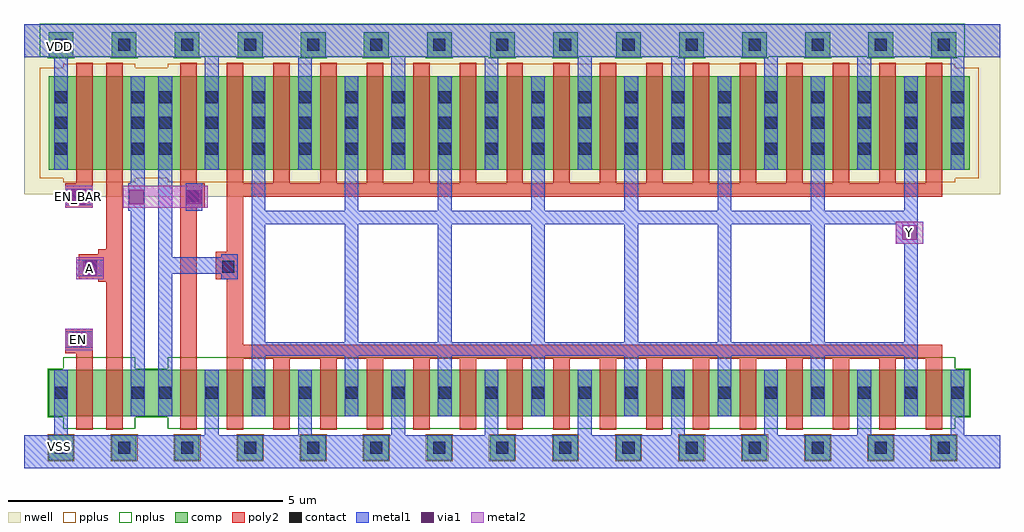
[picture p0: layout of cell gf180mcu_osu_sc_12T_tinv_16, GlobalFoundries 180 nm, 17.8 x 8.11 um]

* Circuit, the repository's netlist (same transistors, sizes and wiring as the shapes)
* Copyright 2022 Google LLC
*
* Licensed under the Apache License, Version 2.0 (the "License");
* you may not use this file except in compliance with the License.
* You may obtain a copy of the License at
*
*      http://www.apache.org/licenses/LICENSE-2.0
*
* Unless required by applicable law or agreed to in writing, software
* distributed under the License is distributed on an "AS IS" BASIS,
* WITHOUT WARRANTIES OR CONDITIONS OF ANY KIND, either express or implied.
* See the License for the specific language governing permissions and
* limitations under the License.

.option scale=0.05u

.subckt gf180mcu_osu_sc_12T_tinv_16 A Y EN EN_BAR
X0 Y a_36_19 VSS VSS nmos_3p3 w=17 l=6
X1 a_36_19 A a_25_19 VSS nmos_3p3 w=17 l=6
X2 VSS a_36_19 Y VSS nmos_3p3 w=17 l=6
X3 a_36_19 A a_25_109 VDD pmos_3p3 w=34 l=6
X4 VSS a_36_19 a_36_19 VSS nmos_3p3 w=17 l=6
X5 VSS a_36_19 Y VSS nmos_3p3 w=17 l=6
X6 VSS a_36_19 Y VSS nmos_3p3 w=17 l=6
X7 a_25_109 EN_BAR VDD VDD pmos_3p3 w=34 l=6
X8 Y a_36_19 VSS VSS nmos_3p3 w=17 l=6
X9 a_25_19 EN VSS VSS nmos_3p3 w=17 l=6
X10 VSS a_36_19 Y VSS nmos_3p3 w=17 l=6
X11 VDD a_36_19 Y VDD pmos_3p3 w=34 l=6
X12 VSS a_36_19 Y VSS nmos_3p3 w=17 l=6
X13 Y a_36_19 VDD VDD pmos_3p3 w=34 l=6
X14 VDD a_36_19 Y VDD pmos_3p3 w=34 l=6
X15 VSS a_36_19 Y VSS nmos_3p3 w=17 l=6
X16 Y a_36_19 VSS VSS nmos_3p3 w=17 l=6
X17 Y a_36_19 VDD VDD pmos_3p3 w=34 l=6
X18 VDD a_36_19 Y VDD pmos_3p3 w=34 l=6
X19 VDD a_36_19 Y VDD pmos_3p3 w=34 l=6
X20 Y a_36_19 VDD VDD pmos_3p3 w=34 l=6
X21 VDD a_36_19 Y VDD pmos_3p3 w=34 l=6
X22 Y a_36_19 VSS VSS nmos_3p3 w=17 l=6
X23 Y a_36_19 VSS VSS nmos_3p3 w=17 l=6
X24 Y a_36_19 VDD VDD pmos_3p3 w=34 l=6
X25 Y a_36_19 VDD VDD pmos_3p3 w=34 l=6
X26 Y a_36_19 VDD VDD pmos_3p3 w=34 l=6
X27 VDD a_36_19 Y VDD pmos_3p3 w=34 l=6
X28 Y a_36_19 VSS VSS nmos_3p3 w=17 l=6
X29 Y a_36_19 VSS VSS nmos_3p3 w=17 l=6
X30 Y a_36_19 VDD VDD pmos_3p3 w=34 l=6
X31 VDD a_36_19 Y VDD pmos_3p3 w=34 l=6
X32 VSS a_36_19 Y VSS nmos_3p3 w=17 l=6
X33 VDD a_36_19 Y VDD pmos_3p3 w=34 l=6
X34 Y a_36_19 VDD VDD pmos_3p3 w=34 l=6
X35 VSS a_36_19 Y VSS nmos_3p3 w=17 l=6
X36 VDD a_36_19 a_36_19 VDD pmos_3p3 w=34 l=6
X37 Y a_36_19 VSS VSS nmos_3p3 w=17 l=6
.ends

** hspice subcircuit dictionary

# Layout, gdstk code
import gdstk
lib = gdstk.Library(unit=1e-6, precision=1e-09)
def R(c, l, rs):  # rectangles x0, y0, x1, y1
    for r in rs: c.add(gdstk.rectangle(r[:2], r[2:], *l))
def A(c, l, x, y, w, h, nx, ny, dx, dy):  # array of equal rectangles
    R(c, l, [(x+i*dx, y+j*dy, x+i*dx+w, y+j*dy+h) for i in range(nx) for j in range(ny)])
nwell = (21, 0)
comp = (22, 0)
poly2 = (30, 0)
pplus = (31, 0)
nplus = (32, 0)
contact = (33, 0)
metal1 = (34, 0)
via1 = (35, 0)
metal2 = (36, 0)

gf180mcu_osu_sc_12t_tinv = lib.new_cell('gf180mcu_osu_sc_12T_tinv_16')
R(gf180mcu_osu_sc_12t_tinv, nwell, [(0.85,4.95,4.2,5), (0,5,17.8,8.1)])
A(gf180mcu_osu_sc_12t_tinv, comp, 0.45, 0.15, 0.45, 0.45, 15, 2, 1.15, 7.35)
R(gf180mcu_osu_sc_12t_tinv, comp, [(0.45,0.95,17.25,1.8), (0.45,5.45,17.25,7.15)])
A(gf180mcu_osu_sc_12t_tinv, poly2, 3.7, 0.7, 0.3, 1.3, 16, 1, 0.85, 0)
A(gf180mcu_osu_sc_12t_tinv, poly2, 2.85, 5.2, 0.3, 2.2, 17, 1, 0.85, 0)
R(gf180mcu_osu_sc_12t_tinv, poly2, [(0.95,0.7,1.25,2.1), (1.5,0.7,1.8,3.4), (2.85,0.7,3.15,4.75), (3.7,2,16.75,2.25), (0.75,2.1,1.25,2.55), (3.7,2.25,4,3.45), (1.35,3.4,1.8,3.45), (1,3.45,1.8,3.9), (3.5,3.45,4,3.95), (1.35,3.9,1.8,4), (3.7,3.95,4,4.95), (1.5,4,1.8,7.4), (0.75,4.75,1.25,5.2), (2.85,4.75,3.3,5.2), (3.7,4.95,16.75,5.2), (0.95,5.2,1.25,7.4)])
A(gf180mcu_osu_sc_12t_tinv, pplus, 0.43, 0.13, 0.49, 0.49, 15, 1, 1.15, 0)
R(gf180mcu_osu_sc_12t_tinv, pplus, [(0.72,5.22,2.03,5.29), (2.62,5.22,16.98,5.29), (0.29,5.29,17.41,7.31), (0.72,7.31,2.03,7.38), (2.62,7.31,16.98,7.38)])
A(gf180mcu_osu_sc_12t_tinv, nplus, 0.43, 7.48, 0.49, 0.03, 15, 1, 1.15, 0)
R(gf180mcu_osu_sc_12t_tinv, nplus, [(0.72,0.72,2.03,0.93), (2.62,0.72,16.98,0.93), (0.43,0.93,17.27,1.82), (0.72,1.82,2.03,2.03), (2.62,1.82,16.98,2.03), (0.29,7.51,17.16,8.11)])
A(gf180mcu_osu_sc_12t_tinv, contact, 0.565, 0.265, 0.22, 0.22, 15, 2, 1.15, 7.35)
A(gf180mcu_osu_sc_12t_tinv, contact, 2.465, 1.265, 0.22, 0.22, 18, 2, 0.85, 4.455)
A(gf180mcu_osu_sc_12t_tinv, contact, 0.565, 5.72, 0.22, 0.22, 1, 3, 0, 0.47)
A(gf180mcu_osu_sc_12t_tinv, contact, 1.965, 5.72, 0.22, 0.22, 1, 3, 0, 0.47)
A(gf180mcu_osu_sc_12t_tinv, contact, 2.465, 6.19, 0.22, 0.22, 18, 2, 0.85, 0.47)
R(gf180mcu_osu_sc_12t_tinv, contact, [(0.565,1.265,0.785,1.485), (1.965,1.265,2.185,1.485), (0.865,2.215,1.085,2.435), (1.115,3.565,1.335,3.785), (3.615,3.565,3.835,3.785), (0.865,4.865,1.085,5.085), (2.965,4.865,3.185,5.085)])
A(gf180mcu_osu_sc_12t_tinv, metal1, 3.3, 0.6, 0.25, 1.2, 9, 1, 1.7, 0)
A(gf180mcu_osu_sc_12t_tinv, metal1, 4.15, 0.95, 0.25, 1.1, 8, 1, 1.7, 0)
A(gf180mcu_osu_sc_12t_tinv, metal1, 4.15, 2.3, 0.25, 2.15, 7, 1, 1.7, 0)
A(gf180mcu_osu_sc_12t_tinv, metal1, 4.15, 4.7, 0.25, 2.45, 8, 1, 1.7, 0)
A(gf180mcu_osu_sc_12t_tinv, metal1, 3.3, 5.45, 0.25, 2.05, 9, 1, 1.7, 0)
R(gf180mcu_osu_sc_12t_tinv, metal1, [(0,0,17.8,0.6), (0.55,0.6,0.8,1.8), (1.95,0.95,2.2,4.7), (2.45,0.95,2.7,3.55), (4.15,2.05,16.3,2.3), (0.75,2.2,1.25,2.5), (16.05,2.3,16.3,4.1), (3.6,3.45,3.9,3.55), (0.95,3.5,1.45,3.8), (2.45,3.55,3.9,3.85), (2.45,3.85,2.7,7.15), (3.6,3.85,3.9,3.9), (15.9,4.1,16.3,4.45), (4.15,4.45,16.3,4.7), (1.9,4.7,2.2,5.2), (2.95,4.7,3.25,5.2), (0.75,4.8,1.25,5.1), (1.95,5.2,2.2,7.15), (0.55,5.45,0.8,7.5), (0,7.5,17.8,8.1)])
A(gf180mcu_osu_sc_12t_tinv, via1, 0.87, 4.82, 0.26, 0.26, 3, 1, 1.05, 0)
R(gf180mcu_osu_sc_12t_tinv, via1, [(0.87,2.22,1.13,2.48), (1.07,3.52,1.33,3.78), (16.02,4.17,16.28,4.43)])
R(gf180mcu_osu_sc_12t_tinv, metal2, [(0.75,2.15,1.25,2.55), (0.95,3.45,1.45,3.85), (15.9,4.1,16.4,4.5), (0.75,4.75,1.25,5.15), (1.8,4.75,3.35,5.15)])
gf180mcu_osu_sc_12t_tinv.add(gdstk.Label('VDD', (0.65,7.7), layer=34, texttype=0))
gf180mcu_osu_sc_12t_tinv.add(gdstk.Label('VSS', (0.65,0.4), layer=34, texttype=0))
gf180mcu_osu_sc_12t_tinv.add(gdstk.Label('A', (1.2,3.65), layer=36, texttype=10))
gf180mcu_osu_sc_12t_tinv.add(gdstk.Label('Y', (16.15,4.3), layer=36, texttype=10))
gf180mcu_osu_sc_12t_tinv.add(gdstk.Label('EN', (1,2.35), layer=36, texttype=10))
gf180mcu_osu_sc_12t_tinv.add(gdstk.Label('EN_BAR', (1,4.95), layer=36, texttype=10))

lib.write_gds('gf180mcu_osu_sc_12T_tinv_16.gds')
